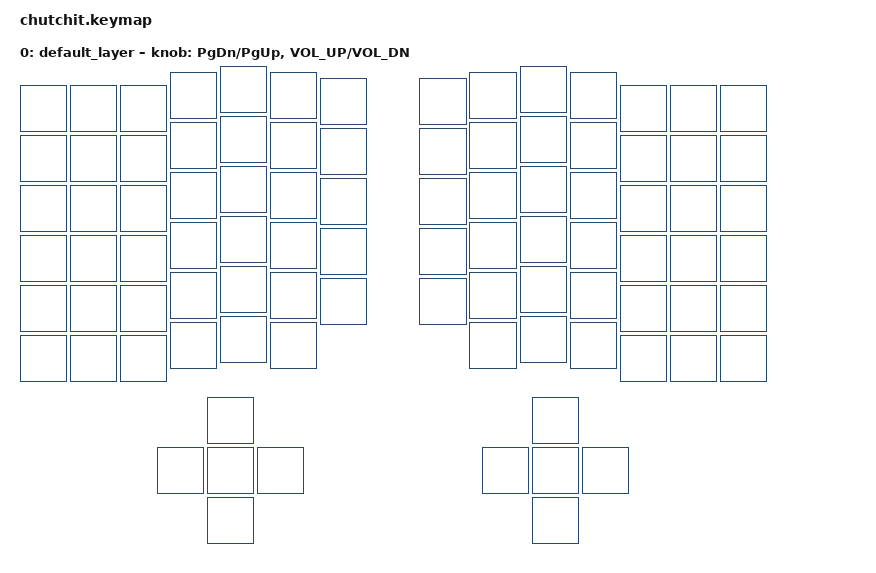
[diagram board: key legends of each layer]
/*
 * Copyright (c) 2020 The ZMK Contributors
 *
 * SPDX-License-Identifier: MIT
 */

#include <input/processors.dtsi>
#include <zephyr/dt-bindings/input/input-event-codes.h>
#include <dt-bindings/zmk/mouse.h>
#include <behaviors/mouse_keys.dtsi>
#include <behaviors.dtsi>
#include <dt-bindings/zmk/bt.h>
#include <dt-bindings/zmk/keys.h>
#include <dt-bindings/zmk/pointing.h>

#define DEFAULT 0
#define LOWER  1
#define RAISE  2
#define ADJUST 3
#define FUNCTION 4

/* NOTE: At the time of the creation of this keymap, there are no specified codes for 'eisuu' and 'kana' input in ZMK.
However, 'LANG1' and 'LANG2' are fully-functioning candidates for 'kana' and 'eisuu' input respectively.
As such, those are in use within the default layer at this time.*/

&mmv_input_listener { input-processors = <&zip_xy_scaler 2 1>; };

&msc_input_listener { input-processors = <&zip_scroll_scaler 2 1>; };

&msc {
    acceleration-exponent = <1>;      // 0
    time-to-max-speed-ms = <100>;       // 300
    delay-ms = <0>;                   // 0
};

&mmv {
    time-to-max-speed-ms = <500>;
    acceleration-exponent = <1>;
    trigger-period-ms = <16>;
};

&soft_off {
    hold-time-ms = <3000>; // Only turn off it the key is held for 3 seconds or longer.
};

&mt {
    tapping-term-ms = <300>;
    flavor = "balanced";
};
/ {
    keymap {
        compatible = "zmk,keymap"; 
                default_layer {
            bindings = <
            &none	&none	&none	&none	&none	&none	&none				&none	&none	&none	&none	&none	&none	&none
            &none	&none	&none	&none	&none	&none	&none				&none	&none	&none	&none	&none	&none	&none
            &none	&none	&none	&none	&none	&none	&none				&none	&none	&none	&none	&none	&none	&none
            &none	&none	&none	&none	&none	&none	&none				&none	&none	&none	&none	&none	&none	&none
            &none	&none	&none	&none	&none	&none	&none				&none	&none	&none	&none	&none	&none	&none
            &none	&none	&none	&none	&none	&none						        &none	&none	&none	&none	&none	&none
                    &none	&none	&none	&none	&none						        &none	&none	&none	&none	&none	
            >;

            sensor-bindings =
                <&inc_dec_kp PAGE_DOWN PAGE_UP>,
                <&inc_dec_kp C_VOL_UP C_VOL_DN>;
        };
     };
};

